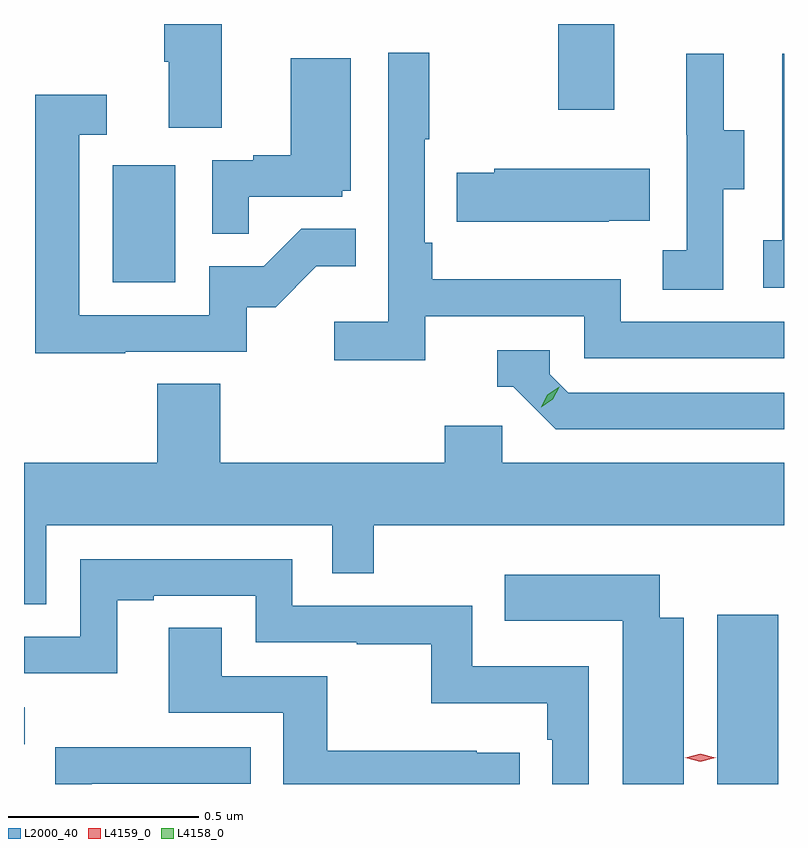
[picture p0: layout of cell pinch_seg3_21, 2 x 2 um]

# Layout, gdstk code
import gdstk
lib = gdstk.Library(unit=1e-6, precision=1e-09)
def R(c, l, rs):  # rectangles x0, y0, x1, y1
    for r in rs: c.add(gdstk.rectangle(r[:2], r[2:], *l))
def P(c, l, *ps):  # polygons
    for p in ps: c.add(gdstk.Polygon(p, *l))
L2000_40 = (2000, 40)
L4158_0 = (4158, 0)
L4159_0 = (4159, 0)

pinch_seg3_21 = lib.new_cell('pinch_seg3_21')
R(pinch_seg3_21, L2000_40, [(1119.734,732.203,1119.895,732.649), (1117.91,732.308,1117.912,732.405), (1118.144,733.524,1118.308,733.831), (1119.316,733.977,1119.463,734.203)])
P(pinch_seg3_21, L2000_40, [(1118.431,734.203),(1118.279,734.203),(1118.279,734.104),(1118.291,734.104),(1118.291,733.93),(1118.431,733.93)],
  [(1118.966,733.434),(1119.384,733.434),(1119.384,733.323),(1119.91,733.323),(1119.91,733.419),(1119.48,733.419),(1119.48,733.531),(1118.984,733.531),(1118.984,733.627),(1118.964,733.627),(1118.964,733.9),(1118.977,733.9),(1118.977,734.128),(1118.868,734.128),(1118.868,733.42),(1118.727,733.42),(1118.727,733.318),(1118.966,733.318)],
  [(1119.91,734.125),(1119.906,734.125),(1119.906,733.634),(1119.855,733.634),(1119.855,733.509),(1119.91,733.509)],
  [(1119.75,733.768),(1119.805,733.768),(1119.805,733.923),(1119.751,733.923),(1119.751,734.125),(1119.653,734.125),(1119.653,733.911),(1119.654,733.911),(1119.654,733.607),(1119.591,733.607),(1119.591,733.504),(1119.75,733.504)],
  [(1118.501,733.749),(1118.748,733.749),(1118.748,733.764),(1118.77,733.764),(1118.77,734.113),(1118.612,734.113),(1118.612,733.858),(1118.513,733.858),(1118.513,733.845),(1118.406,733.845),(1118.406,733.651),(1118.501,733.651)],
  [(1118.177,733.341),(1118.496,733.341),(1118.496,733.458),(1118.572,733.458),(1118.679,733.565),(1118.783,733.565),(1118.783,733.664),(1118.639,733.664),(1118.541,733.566),(1118.397,733.566),(1118.397,733.437),(1118.055,733.437),(1118.055,733.911),(1118.128,733.911),(1118.128,734.017),(1117.939,734.017),(1117.939,733.336),(1118.177,733.336)],
  [(1119.449,733.685),(1119.557,733.685),(1119.557,733.822),(1119.147,733.822),(1119.147,733.812),(1119.049,733.812),(1119.049,733.682),(1119.449,733.682)],
  [(1119.91,733.233),(1119.342,733.233),(1119.294,733.281),(1119.294,733.344),(1119.155,733.344),(1119.155,733.248),(1119.198,733.248),(1119.309,733.137),(1119.91,733.137)],
  [(1118.721,732.757),(1118.83,732.757),(1118.83,732.884),(1119.91,732.884),(1119.91,733.048),(1119.168,733.048),(1119.168,733.146),(1119.017,733.146),(1119.017,733.048),(1118.426,733.048),(1118.426,733.256),(1118.261,733.256),(1118.261,733.048),(1117.91,733.048),(1117.91,732.676),(1117.969,732.676),(1117.969,732.884),(1118.721,732.884)],
  [(1119.396,732.513),(1119.09,732.513),(1119.09,732.672),(1118.616,732.672),(1118.616,732.795),(1118.058,732.795),(1118.058,732.591),(1117.91,732.591),(1117.91,732.495),(1117.95,732.495),(1117.95,732.494),(1118.155,732.494),(1118.155,732.687),(1118.251,732.687),(1118.251,732.699),(1118.52,732.699),(1118.52,732.576),(1118.785,732.576),(1118.785,732.571),(1118.982,732.571),(1118.982,732.416),(1119.287,732.416),(1119.287,732.32),(1119.3,732.32),(1119.3,732.203),(1119.396,732.203)],
  [(1119.646,732.64),(1119.583,732.64),(1119.583,732.754),(1119.175,732.754),(1119.175,732.632),(1119.485,732.632),(1119.485,732.203),(1119.646,732.203)],
  [(1119.214,732.285),(1119.101,732.285),(1119.101,732.29),(1118.708,732.29),(1118.708,732.486),(1118.431,732.486),(1118.431,732.614),(1118.291,732.614),(1118.291,732.39),(1118.592,732.39),(1118.592,732.203),(1119.214,732.203)],
  [(1118.088,732.204),(1118.507,732.204),(1118.507,732.3),(1117.992,732.3),(1117.992,732.203),(1118.088,732.203)])
P(pinch_seg3_21, L4158_0, [(1119.271,733.195),(1119.271,733.195),(1119.287,733.228),(1119.318,733.248),(1119.318,733.248),(1119.318,733.247),(1119.302,733.215),(1119.271,733.195)])
P(pinch_seg3_21, L4159_0, [(1119.69,732.262),(1119.65,732.272),(1119.65,732.272),(1119.65,732.272),(1119.69,732.282),(1119.73,732.272),(1119.73,732.272),(1119.73,732.272)])

lib.write_gds('pinch_seg3_21.gds')
